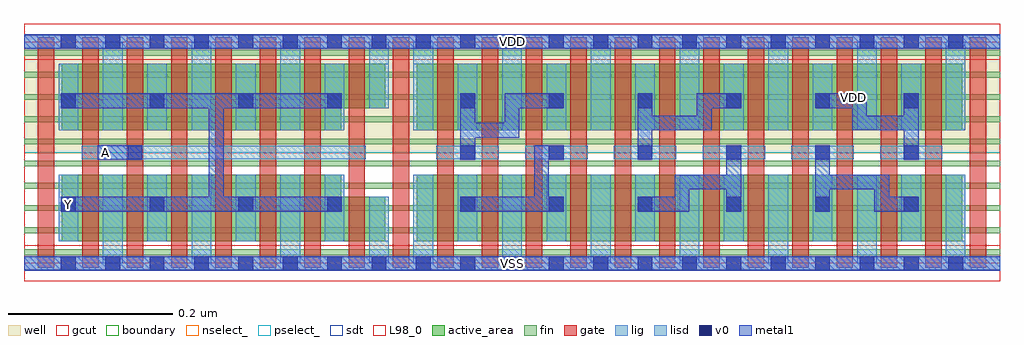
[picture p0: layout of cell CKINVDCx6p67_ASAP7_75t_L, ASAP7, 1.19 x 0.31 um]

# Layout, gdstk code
import gdstk
lib = gdstk.Library(unit=1e-6, precision=2.5e-10)
def R(c, l, rs):  # rectangles x0, y0, x1, y1
    for r in rs: c.add(gdstk.rectangle(r[:2], r[2:], *l))
def A(c, l, x, y, w, h, nx, ny, dx, dy):  # array of equal rectangles
    R(c, l, [(x+i*dx, y+j*dy, x+i*dx+w, y+j*dy+h) for i in range(nx) for j in range(ny)])
def P(c, l, *ps):  # polygons
    for p in ps: c.add(gdstk.Polygon(p, *l))
well = (1, 0)
fin = (2, 0)
gate = (7, 0)
gcut = (10, 0)
active_area = (11, 0)
nselect_ = (12, 0)
pselect_ = (13, 0)
lig = (16, 0)
lisd = (17, 0)
v0 = (18, 0)
metal1 = (19, 0)
sdt = (88, 0)
L98_0 = (98, 0)
boundary = (100, 0)

ckinvdcx6p67_asap7_75t_l = lib.new_cell('CKINVDCx6p67_ASAP7_75t_L')
R(ckinvdcx6p67_asap7_75t_l, well, [(0,0.135,1.188,0.27)])
A(ckinvdcx6p67_asap7_75t_l, fin, 0, 0.01, 1.188, 0.007, 1, 10, 0, 0.027)
A(ckinvdcx6p67_asap7_75t_l, gate, 0.017, -0.005, 0.02, 0.28, 22, 1, 0.054, 0)
R(ckinvdcx6p67_asap7_75t_l, gcut, [(0,-0.022,1.188,0.022), (0,0.248,1.188,0.292)])
R(ckinvdcx6p67_asap7_75t_l, active_area, [(0.478,0.027,1.142,0.108), (0.478,0.162,1.142,0.243)])
P(ckinvdcx6p67_asap7_75t_l, active_area, [(0.046,0.027),(0.44,0.027),(0.44,0.081),(0.386,0.081),(0.386,0.108),(0.046,0.108)],
  [(0.046,0.162),(0.386,0.162),(0.386,0.189),(0.44,0.189),(0.44,0.243),(0.046,0.243)])
R(ckinvdcx6p67_asap7_75t_l, nselect_, [(0,0,1.188,0.135)])
R(ckinvdcx6p67_asap7_75t_l, pselect_, [(0,0.135,1.188,0.27)])
A(ckinvdcx6p67_asap7_75t_l, lig, 0.502, 0.127, 0.076, 0.016, 6, 1, 0.108, 0)
R(ckinvdcx6p67_asap7_75t_l, lig, [(0,-0.008,1.188,0.008), (0.07,0.127,0.416,0.143), (0,0.262,1.188,0.278)])
A(ckinvdcx6p67_asap7_75t_l, lisd, 0.096, 0, 0.024, 0.108, 3, 2, 0.108, 0.162)
A(ckinvdcx6p67_asap7_75t_l, lisd, 0.474, 0, 0.024, 0.108, 7, 2, 0.108, 0.162)
A(ckinvdcx6p67_asap7_75t_l, lisd, 0.042, 0.027, 0.024, 0.081, 4, 2, 0.108, 0.135)
A(ckinvdcx6p67_asap7_75t_l, lisd, 0.528, 0.027, 0.024, 0.081, 6, 2, 0.108, 0.135)
R(ckinvdcx6p67_asap7_75t_l, lisd, [(0.42,0,0.444,0.081), (0.42,0.189,0.444,0.27)])
A(ckinvdcx6p67_asap7_75t_l, v0, 0.045, -0.009, 0.018, 0.018, 21, 2, 0.054, 0.27)
A(ckinvdcx6p67_asap7_75t_l, v0, 0.045, 0.063, 0.018, 0.018, 4, 2, 0.108, 0.126)
A(ckinvdcx6p67_asap7_75t_l, v0, 0.531, 0.063, 0.018, 0.018, 6, 3, 0.108, 0.063)
R(ckinvdcx6p67_asap7_75t_l, v0, [(0.126,0.126,0.144,0.144)])
R(ckinvdcx6p67_asap7_75t_l, metal1, [(0,-0.009,1.188,0.009), (0.09,0.126,0.144,0.144), (0,0.261,1.188,0.279)])
P(ckinvdcx6p67_asap7_75t_l, metal1, [(0.981,0.09),(1.035,0.09),(1.035,0.063),(1.089,0.063),(1.089,0.081),(1.053,0.081),(1.053,0.108),(0.981,0.108),(0.981,0.144),(0.963,0.144),(0.963,0.063),(0.981,0.063)],
  [(0.81,0.09),(0.855,0.09),(0.855,0.063),(0.873,0.063),(0.873,0.144),(0.855,0.144),(0.855,0.108),(0.792,0.108),(0.792,0.081),(0.747,0.081),(0.747,0.063),(0.81,0.063)],
  [(0.657,0.081),(0.639,0.081),(0.639,0.126),(0.657,0.126),(0.657,0.144),(0.621,0.144),(0.621,0.081),(0.531,0.081),(0.531,0.063),(0.657,0.063)],
  [(1.071,0.207),(1.071,0.18),(1.026,0.18),(1.026,0.207),(0.963,0.207),(0.963,0.189),(1.008,0.189),(1.008,0.162),(1.071,0.162),(1.071,0.126),(1.089,0.126),(1.089,0.207)],
  [(0.765,0.162),(0.837,0.162),(0.837,0.189),(0.873,0.189),(0.873,0.207),(0.819,0.207),(0.819,0.18),(0.765,0.18),(0.765,0.207),(0.747,0.207),(0.747,0.126),(0.765,0.126)],
  [(0.549,0.153),(0.603,0.153),(0.603,0.189),(0.657,0.189),(0.657,0.207),(0.585,0.207),(0.585,0.171),(0.549,0.171),(0.549,0.207),(0.531,0.207),(0.531,0.126),(0.549,0.126)],
  [(0.387,0.081),(0.243,0.081),(0.243,0.189),(0.387,0.189),(0.387,0.207),(0.045,0.207),(0.045,0.189),(0.225,0.189),(0.225,0.081),(0.045,0.081),(0.045,0.063),(0.387,0.063)])
A(ckinvdcx6p67_asap7_75t_l, sdt, 0.042, 0.027, 0.024, 0.081, 7, 2, 0.054, 0.135)
A(ckinvdcx6p67_asap7_75t_l, sdt, 0.474, 0.027, 0.024, 0.081, 13, 2, 0.054, 0.135)
R(ckinvdcx6p67_asap7_75t_l, sdt, [(0.42,0.027,0.444,0.081), (0.42,0.189,0.444,0.243)])
R(ckinvdcx6p67_asap7_75t_l, L98_0, [(0,0,1.188,0.27)])
R(ckinvdcx6p67_asap7_75t_l, boundary, [(0,0,1.188,0.27)])
ckinvdcx6p67_asap7_75t_l.add(gdstk.Label('Y', (0.054,0.072), layer=19, texttype=251))
ckinvdcx6p67_asap7_75t_l.add(gdstk.Label('A', (0.099,0.135), layer=19, texttype=251))
ckinvdcx6p67_asap7_75t_l.add(gdstk.Label('VSS', (0.594,0), layer=19, texttype=251))
ckinvdcx6p67_asap7_75t_l.add(gdstk.Label('VDD', (0.594,0.27), layer=19, texttype=251))
ckinvdcx6p67_asap7_75t_l.add(gdstk.Label('VDD', (1.0097,0.2025), layer=1, texttype=251))
ckinvdcx6p67_asap7_75t_l.add(gdstk.Label('VSS', (1.3662,0.2025), layer=3, texttype=251))

lib.write_gds('CKINVDCx6p67_ASAP7_75t_L.gds')
